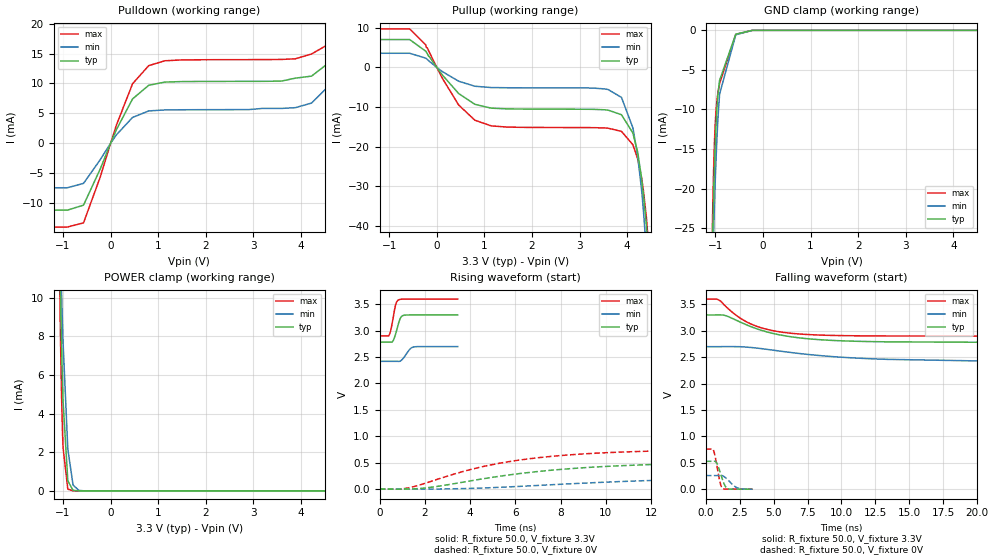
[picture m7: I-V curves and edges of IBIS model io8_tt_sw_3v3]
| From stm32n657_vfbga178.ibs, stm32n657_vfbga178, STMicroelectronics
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[Model]   io8_tt_sw_3v3
Model_type I/O
Polarity   Non-Inverting
Enable   Active-Low
| CAP_THRESHOLD on pad IOTT is "UDTCAPC" :
| Rising=30.0% of vddiov33sw   Falling=70.0% of vddiov33sw
| C_comp min and max val. don't necessarily correlate with the min and max pvt
| but are the smallest and greatest pad capacitance found.
| var   typ   min   max
C_comp   1.04509pF  1.04105pF  1.06271pF
|C_comp_pullup   502.72000fF  513.84000fF  497.26500fF
|C_comp_pulldown   542.36500fF  527.20500fF  565.44025fF
Vinl = 810.0mV
Vinh = 2.52V
Vmeas = 1.65V   | Reference voltage for timing measurements
Cref  = 50.0pF   | Timing specification test load capacitance value
Rref  = 100.0MOhm   | Timing specification test load resistance value
Vref  = 1.65V   | Timing specification test load voltage
[Model Spec]
| TIME_THRESHOLD on pin ZIV08SW is "CMOS" :
| Rising=50.0% of vddv08sw   Falling=50.0% of vddv08sw
Vinl 1.08570V 868.70000mV 1.21270V
Vinh 1.55630V 1.26230V 1.70930V
| variable   typ   min   max
[Temperature Range] 25.0 125.0 -40.0
| variable   typ   min   max
[Voltage Range] 3.3V 2.7V 3.6V
| variable   typ   min   max
[POWER Clamp Reference] 3.3V 2.7V 3.6V
| variable   typ   min   max
[GND Clamp Reference] 0V 0V 0V
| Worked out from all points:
|   slope of the pulldown table from 0 to 0.495 V, typ, clamps not added: 64.8 ohm
|   slope of the pullup table from 0 to 0.495 V, typ, clamps not added: 71.9 ohm
|   POWER clamp passes 1 mA (typ) near -0.91 V on its own axis
|   rising waveform, R_fixture 50.0, V_fixture 3.3V: 20-80 % time 212ps typ, 287ps min, 181ps max; typ from 2.78 V to 3.3 V
|   falling waveform, R_fixture 50.0, V_fixture 3.3V: 20-80 % time 4.04ns typ, 7.09ns min, 2.84ns max; typ from 3.3 V to 2.78 V
|   rising waveform, R_fixture 50.0, V_fixture 0V: 20-80 % time 6.4ns typ, 10.4ns min, 5.02ns max; typ from 0 V to 0.528 V
|   falling waveform, R_fixture 50.0, V_fixture 0V: 20-80 % time 417ps typ, 641ps min, 333ps max; typ from 0.528 V to 0 V
[POWER Clamp]
-3.3V     1.223A     322.9mA    1.992A
-1.13V    21.13mA    20.02mA    22.97mA
-1.06V    10.95mA    12.86mA    8.873mA
-1.05V    9.712mA    11.93mA    7.359mA
-1.04V    8.543mA    11.02mA    6.005mA
-1.03V    7.449mA    10.15mA    4.817mA
-1.02V    6.434mA    9.299mA    3.798mA
-1V       4.656mA    7.707mA    2.247mA
-900mV    522.9uA    2.172mA    94.14uA
-790mV    29.74uA    306.2uA    4.583uA
-670mV    1.821uA    29.61uA    2.001uA
6.6V      0A         0A         0A
[GND Clamp]
-3.3V     -3.613A    -2.885A    -3.704A
-1.06V    -27.68mA   -31.42mA   -24.47mA
-1.05V    -24.83mA   -28.95mA   -21.38mA
-1.03V    -19.9mA    -24.48mA   -16.44mA
-1.01V    -15.89mA   -20.57mA   -12.96mA
-1V       -14.21mA   -18.82mA   -11.67mA
-980mV    -11.44mA   -15.66mA   -9.794mA
-950mV    -8.553mA   -11.79mA   -8.087mA
-910mV    -6.324mA   -8.058mA   -6.739mA
-570mV    -485.4uA   -558uA     -511.9uA
-220mV    -47.01nA   -390.8nA   -38.86nA
6.6V      95.56nA    894.7nA    107.9nA
| variable   typ   min   max
[Pullup Reference] 3.3V 2.7V 3.6V
| variable   typ   min   max
[Pulldown Reference] 0V 0V 0V
[Pullup]
-3.3V     7.046mA    3.581mA    9.738mA
-570mV    7.046mA    3.581mA    9.738mA
-230mV    4.084mA    2.339mA    5.688mA
460mV     -6.603mA   -3.484mA   -9.498mA
800mV     -9.321mA   -4.753mA   -13.34mA
3.6V      -10.79mA   -5.593mA   -15.36mA
3.88V     -11.95mA   -7.582mA   -16.17mA
4.12V     -16.6mA    -15.29mA   -19.54mA
4.3V      -27.8mA    -30.71mA   -27.83mA
4.4V      -39.38mA   -45.71mA   -37.53mA
4.42V     -42.33mA   -49.4mA    -40.43mA
6.6V      -105.1mA   -688.6mA   -151.4mA
[Pulldown]
-3.3V     -11.22mA   -7.47mA    -14.05mA
-910mV    -11.22mA   -7.47mA    -14.05mA
-570mV    -10.38mA   -6.74mA    -13.35mA
120mV     2.252mA    1.384mA    2.997mA
460mV     7.403mA    4.305mA    9.944mA
800mV     9.691mA    5.396mA    12.98mA
3.6V      10.41mA    5.819mA    14.02mA
4.22V     11.22mA    6.711mA    14.93mA
4.56V     13.31mA    9.4mA      16.48mA
4.9V      20.4mA     17.95mA    22.54mA
5.24V     41.73mA    41.86mA    41.62mA
6.6V      253mA      251.5mA    251.5mA
[Ramp]
dV/dt_r 316.76679mV/6.40372ns 154.93461mV/10.00516ns 455.99234mV/5.01691ns
dV/dt_f 310.39926mV/4.03527ns 168.28589mV/7.08932ns 419.59096mV/2.83755ns
R_load = 50.0
| Removed startup time: 0s 0s 0s  .
| Removed end time: 3.45ns.
[Rising Waveform]
R_fixture   = 50.0
V_fixture   = 3.3V
V_fixture_min = 2.7V
V_fixture_max = 3.6V
0s        2.783V     2.42V      2.901V
400ps     2.783V     2.42V      2.901V
500ps     2.783V     2.42V      3.024V
600ps     2.813V     2.42V      3.251V
700ps     2.93V      2.42V      3.483V
850ps     3.161V     2.418V     3.587V
1ns       3.281V     2.456V     3.597V
1.35ns    3.299V     2.656V     3.599V
1.5ns     3.299V     2.692V     3.599V
3.45ns    3.3V       2.7V       3.6V
| Removed startup time: 0s 0s 0s  .
| Removed end time: 59.9ns.
[Falling Waveform]
R_fixture   = 50.0
V_fixture   = 3.3V
V_fixture_min = 2.7V
V_fixture_max = 3.6V
0s        3.3V       2.7V       3.6V
1ns       3.301V     2.7V       3.579V
1.5ns     3.285V     2.701V     3.456V
2.6ns     3.159V     2.698V     3.23V
3.9ns     3.027V     2.669V     3.073V
5.5ns     2.921V     2.615V     2.979V
7.8ns     2.844V     2.546V     2.926V
12.6ns    2.794V     2.467V     2.903V
20ns      2.784V     2.43V      2.901V
59.9ns    2.783V     2.42V      2.901V
| Removed startup time: 0s 0s 0s  .
| Removed end time: 69.9ns.
[Rising Waveform]
R_fixture   = 50.0
V_fixture   = 0V
V_fixture_min = 0V
V_fixture_max = 0V
0s        488.5nV    1.411uV    482.8nV
900ps     -2.107mV   -673.6uV   -185.1uV
1.3ns     127.7uV    -1.17mV    24.48mV
2.3ns     34.95mV    74.62uV    148.9mV
4.1ns     160.5mV    13.1mV     378.1mV
6.3ns     298.6mV    52.65mV    555.7mV
8.7ns     394.1mV    104.8mV    656.5mV
12.2ns    466.4mV    164.9mV    720.6mV
23.3ns    521.9mV    238.9mV    758mV
69.9ns    527.9mV    258.2mV    760mV
| Removed startup time: 0s 0s 0s  .
| Removed end time: 3.45ns.
[Falling Waveform]
R_fixture   = 50.0
V_fixture   = 0V
V_fixture_min = 0V
V_fixture_max = 0V
0s        527.9mV    258.3mV    760mV
550ps     527.9mV    258.3mV    749.8mV
650ps     528.2mV    258.3mV    666mV
800ps     499.1mV    258.3mV    473mV
1.05ns    328mV      258.2mV    131.3mV
1.25ns    168.2mV    253.4mV    12.23mV
1.45ns    51.66mV    217.9mV    1.455mV
1.65ns    7.739mV    170.3mV    701.9uV
2.35ns    389.3uV    22.52mV    249.3uV
3.45ns    146.3uV    333uV      110.5uV
